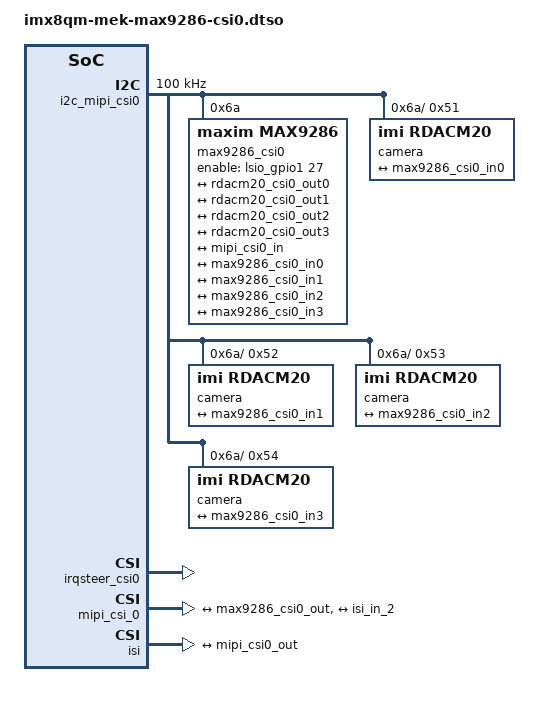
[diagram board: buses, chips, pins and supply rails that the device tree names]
// SPDX-License-Identifier: (GPL-2.0+ OR MIT)
/*
 * Copyright 2024 NXP
 */
/dts-v1/;
/plugin/;

#include <dt-bindings/gpio/gpio.h>

&i2c_mipi_csi0 {
	#address-cells = <1>;
	#size-cells = <0>;
	pinctrl-names = "default";
	pinctrl-0 = <&pinctrl_i2c_mipi_csi0>;
	clock-frequency = <100000>;
	status = "okay";

	max9286_csi0@6a {
		compatible = "maxim,max9286";
		reg = <0x6a>;
		pinctrl-names = "default";
		pinctrl-0 = <&pinctrl_mipi_csi0>;
		enable-gpios = <&lsio_gpio1 27 GPIO_ACTIVE_HIGH>;
		maxim,gpio-poc = <0 GPIO_ACTIVE_LOW>;

		maxim,i2c-remote-bus-hz = <339000>;
		maxim,reverse-channel-microvolt = <100000>;

		ports {
			#address-cells = <1>;
			#size-cells = <0>;

			port@0 {
				reg = <0>;

				max9286_csi0_in0: endpoint {
					remote-endpoint = <&rdacm20_csi0_out0>;
				};
			};

			port@1 {
				reg = <1>;

				max9286_csi0_in1: endpoint {
					remote-endpoint = <&rdacm20_csi0_out1>;
				};
			};

			port@2 {
				reg = <2>;

				max9286_csi0_in2: endpoint {
					remote-endpoint = <&rdacm20_csi0_out2>;
				};
			};

			port@3 {
				reg = <3>;

				max9286_csi0_in3: endpoint {
					remote-endpoint = <&rdacm20_csi0_out3>;
				};
			};

			port@4 {
				reg = <4>;

				max9286_csi0_out: endpoint {
					data-lanes = <1 2 3 4>;
					remote-endpoint = <&mipi_csi0_in>;
				};
			};
		};

		i2c-mux {
			#address-cells = <1>;
			#size-cells = <0>;

			i2c@0 {
				#address-cells = <1>;
				#size-cells = <0>;
				reg = <0>;

				camera@51 {
					compatible = "imi,rdacm20";
					reg = <0x51>, <0x61>;
					imi,no-poc;

					port {
						rdacm20_csi0_out0: endpoint {
							remote-endpoint = <&max9286_csi0_in0>;
						};
					};
				};
			};

			i2c@1 {
				#address-cells = <1>;
				#size-cells = <0>;
				reg = <1>;

				camera@52 {
					compatible = "imi,rdacm20";
					reg = <0x52>, <0x62>;
					imi,no-poc;

					port {
						rdacm20_csi0_out1: endpoint {
							remote-endpoint = <&max9286_csi0_in1>;
						};
					};
				};
			};

			i2c@2 {
				#address-cells = <1>;
				#size-cells = <0>;
				reg = <2>;

				camera@53 {
					compatible = "imi,rdacm20";
					reg = <0x53>, <0x63>;
					imi,no-poc;

					port {
						rdacm20_csi0_out2: endpoint {
							remote-endpoint = <&max9286_csi0_in2>;
						};
					};
				};
			};

			i2c@3 {
				#address-cells = <1>;
				#size-cells = <0>;
				reg = <3>;

				camera@54 {
					compatible = "imi,rdacm20";
					reg = <0x54>, <0x64>;
					imi,no-poc;

					port {
						rdacm20_csi0_out3: endpoint {
							remote-endpoint = <&max9286_csi0_in3>;
						};
					};
				};
			};
		};
	};
};

&irqsteer_csi0 {
	status = "okay";
};

&mipi_csi_0 {
	status = "okay";

	ports {
		#address-cells = <1>;
		#size-cells = <0>;

		port@0 {
			reg = <0>;

			mipi_csi0_in: endpoint {
				remote-endpoint = <&max9286_csi0_out>;
				data-lanes = <1 2 3 4>;
			};
		};

		port@1 {
			reg = <1>;

			mipi_csi0_out: endpoint {
				remote-endpoint = <&isi_in_2>;
			};
		};
	};
};

&isi {
	status = "okay";

	ports {
		#address-cells = <1>;
		#size-cells = <0>;

		port@2 {
			reg = <2>;

			isi_in_2: endpoint {
				remote-endpoint = <&mipi_csi0_out>;
			};
		};
	};
};
